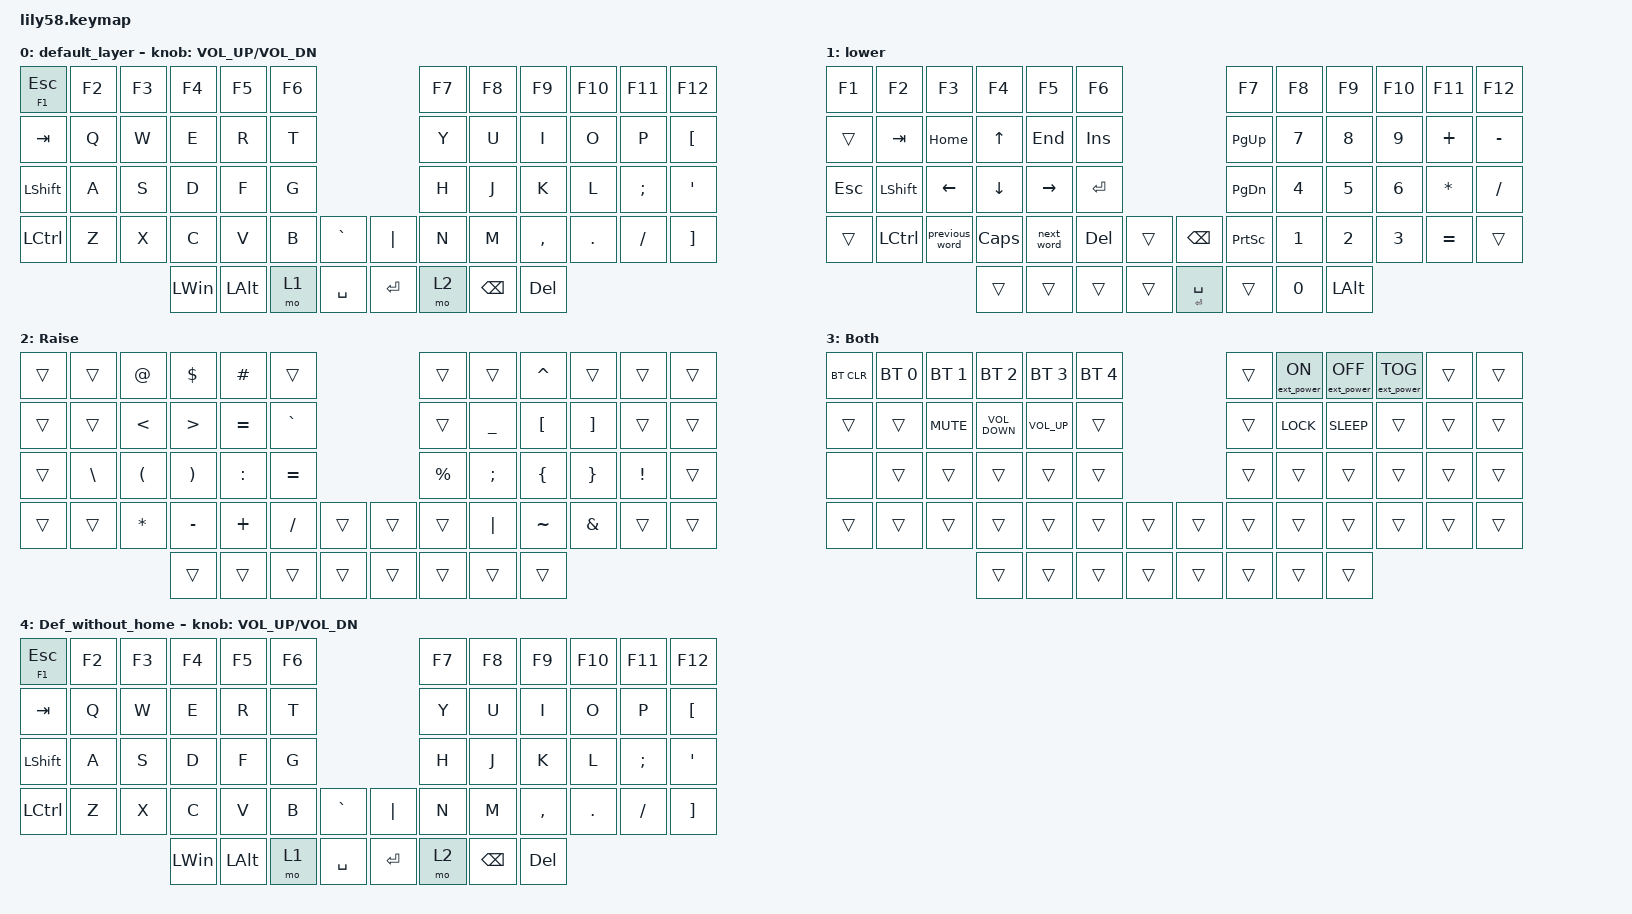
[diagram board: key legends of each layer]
/*
 * Copyright (c) 2020 The ZMK Contributors
 *
 * SPDX-License-Identifier: MIT
 */

#include <behaviors.dtsi>
#include <dt-bindings/zmk/bt.h>
#include <dt-bindings/zmk/ext_power.h>
#include <dt-bindings/zmk/keys.h>

/ {
    combos {
        compatible = "zmk,combos";

        ChangeLeng {
            bindings = <&kp LG(TAB)>;
            key-positions = <29 30>;
        };

        combo_esc {
            bindings = <&kp ESC>;
            key-positions = <28 31>;
        };
    };

    behaviors {
        ss_hs_modmorph: ss_hs_modmorph {
            compatible = "zmk,behavior-mod-morph";
            label = "SS_HS_MODMORPH";
            bindings = <&kp M>, <&kp RIGHT_BRACKET>;

            #binding-cells = <0>;
            mods = <(MOD_LSFT|MOD_RSFT)>;
        };

        kh_hs_tapdance: kh_hs_tapdance {
            compatible = "zmk,behavior-tap-dance";
            label = "KH_HS_TAPDANCE";
            #binding-cells = <0>;
            tapping-term-ms = <200>;
            bindings = <&kp LEFT_BRACKET>, <&kp RIGHT_BRACKET>;
        };

        hrm: hrm {
            compatible = "zmk,behavior-hold-tap";
            #binding-cells = <2>;
            flavor = "tap-preferred";
            tapping-term-ms = <200>;
            quick-tap-ms = <200>;
            require-prior-idle-ms = <125>;
            bindings = <&kp>, <&kp>;
        };

        hml: homewrow_mods_left {
            compatible = "zmk,behavior-hold-tap";
            label = "HOMEROW_MODS_LEFT_HAND";
            bindings = <&kp>, <&kp>;

            #binding-cells = <2>;
            tapping-term-ms = <200>;
            hold-trigger-key-positions = <6 10 11 18 19 20 21 22 23 30 31 32 33 34 35 44 45 46 47 48 49 55 56 57 6 7 8 9 10 11 18 19 20 21 22 23 30 31 32 33 34 35 43 44 45 46 47 48 49 54 55 56 57>;
        };

        hmr: homewrow_mods_right {
            compatible = "zmk,behavior-hold-tap";
            label = "HOMEROW_MODS_RIGHT_HAND";
            bindings = <&kp>, <&kp>;

            #binding-cells = <2>;
            tapping-term-ms = <200>;
            hold-trigger-key-positions = <0 1 2 3 4 5 12 13 14 15 16 17 24 25 26 27 28 29 36 37 38 39 40 41 42 50 51 52 53>;
        };
    };

    macros {
        pass: new_macro {
            compatible = "zmk,behavior-macro";
            #binding-cells = <0>;
            bindings = <&kp NUMBER_2 &kp N5 &kp NUMBER_1 &kp NUMBER_2 &kp N0 &kp NUMBER_2 &kp N5 &kp NUMBER_1 &kp NUMBER_2 &kp N0 &kp LS(G) &kp U &kp G &kp S>;
            label = "NEW_MACRO";
        };

        next_word: next_word {
            compatible = "zmk,behavior-macro";
            #binding-cells = <0>;
            bindings = <&kp LC(RIGHT)>;
            label = "NEXT_WORD";
        };

        previous_word: previous_word {
            compatible = "zmk,behavior-macro";
            #binding-cells = <0>;
            bindings = <&kp LC(LEFT)>;
            label = "PREVIOUS_WORD";
        };
    };

    keymap {
        compatible = "zmk,keymap";

        default_layer {
            // ------------------------------------------------------------------------------------------------------------
            // |  ESC  |  1  |  2  |  3   |  4   |  5   |                   |  6   |  7    |  8    |  9   |   0   |   `   |
            // |  TAB  |  Q  |  W  |  E   |  R   |  T   |                   |  Y   |  U    |  I    |  O   |   P   |   -   |
            // |  CTRL |  A  |  S  |  D   |  F   |  G   |                   |  H   |  J    |  K    |  L   |   ;   |   '   |
            // | SHIFT |  Z  |  X  |  C   |  V   |  B   |   "["  |  |  "]"  |  N   |  M    |  ,    |  .   |   /   | SHIFT |
            //                     | ALT  | GUI  | LOWER|  SPACE |  | ENTER | RAISE| BSPC  | GUI   |

            bindings = <
&hrm F1 ESC       &kp F2  &kp F3  &kp F4        &kp F5        &kp F6                         &kp F7  &kp F8    &kp F9     &kp F10  &kp F11   &kp F12
&kp TAB           &kp Q   &kp W   &kp E         &kp R         &kp T                          &kp Y   &kp U     &kp I      &kp O    &kp P     &kp LEFT_BRACKET
&kp LEFT_SHIFT    &kp A   &kp S   &kp D         &kp F         &kp G                          &kp H   &kp J     &kp K      &kp L    &kp SEMI  &kp SQT
&kp LEFT_CONTROL  &kp Z   &kp X   &kp C         &kp V         &kp B   &kp GRAVE    &kp PIPE  &kp N   &kp M     &kp COMMA  &kp DOT  &kp FSLH  &kp RIGHT_BRACKET
                                  &kp LEFT_WIN  &kp LEFT_ALT  &mo 1   &kp SPACE    &kp RET   &mo 2   &kp BSPC  &kp DEL
            >;

            sensor-bindings = <&inc_dec_kp C_VOL_UP C_VOL_DN>;
        };

        lower {
            bindings = <
&kp F1   &kp F2            &kp F3          &kp F4        &kp F5      &kp F6                                  &kp F7           &kp F8  &kp F9        &kp F10  &kp F11    &kp F12
&trans   &kp TAB           &kp HOME        &kp UP        &kp END     &kp INSERT                              &kp PAGE_UP      &kp N7  &kp N8        &kp N9   &kp PLUS   &kp MINUS
&kp ESC  &kp LEFT_SHIFT    &kp LEFT        &kp DOWN      &kp RIGHT   &kp ENTER                               &kp PAGE_DOWN    &kp N4  &kp N5        &kp N6   &kp STAR   &kp SLASH
&trans   &kp LEFT_CONTROL  &previous_word  &kp CAPSLOCK  &next_word  &kp DELETE  &trans    &kp BACKSPACE     &kp PRINTSCREEN  &kp N1  &kp N2        &kp N3   &kp EQUAL  &trans
                                           &trans        &trans      &trans      &trans    &hrm ENTER SPACE  &trans           &kp N0  &kp LEFT_ALT
            >;
        };

        Raise {
            bindings = <
&trans  &trans    &kp AT_SIGN           &kp DOLLAR             &kp POUND  &trans                       &trans       &trans          &kp CARET         &trans             &trans           &trans
&trans  &trans    &kp LESS_THAN         &kp GREATER_THAN       &kp EQUAL  &kp GRAVE                    &trans       &kp UNDERSCORE  &kp LEFT_BRACKET  &kp RIGHT_BRACKET  &trans           &trans
&trans  &kp BSLH  &kp LEFT_PARENTHESIS  &kp RIGHT_PARENTHESIS  &kp COLON  &kp EQUAL                    &kp PERCENT  &kp SEMICOLON   &kp LEFT_BRACE    &kp RIGHT_BRACE    &kp EXCLAMATION  &trans
&trans  &trans    &kp ASTRK             &kp MINUS              &kp PLUS   &kp SLASH  &trans    &trans  &trans       &kp PIPE        &kp TILDE         &kp AMPERSAND      &trans           &trans
                                        &trans                 &trans     &trans     &trans    &trans  &trans       &trans          &trans
            >;
        };

        Both {
            bindings = <
&bt BT_CLR  &bt BT_SEL 0  &bt BT_SEL 1  &bt BT_SEL 2       &bt BT_SEL 3     &bt BT_SEL 4                    &trans  &ext_power EP_ON  &ext_power EP_OFF  &ext_power EP_TOG  &trans  &trans
&trans      &trans        &kp K_MUTE    &kp C_VOLUME_DOWN  &kp C_VOLUME_UP  &trans                          &trans  &kp K_LOCK        &kp K_SLEEP        &trans             &trans  &trans
&none       &trans        &trans        &trans             &trans           &trans                          &trans  &trans            &trans             &trans             &trans  &trans
&trans      &trans        &trans        &trans             &trans           &trans        &trans    &trans  &trans  &trans            &trans             &trans             &trans  &trans
                                        &trans             &trans           &trans        &trans    &trans  &trans  &trans            &trans
            >;
        };

        Def_without_home {
            bindings = <
&hrm F1 ESC       &kp F2  &kp F3  &kp F4        &kp F5        &kp F6                         &kp F7  &kp F8    &kp F9     &kp F10  &kp F11   &kp F12
&kp TAB           &kp Q   &kp W   &kp E         &kp R         &kp T                          &kp Y   &kp U     &kp I      &kp O    &kp P     &kp LEFT_BRACKET
&kp LEFT_SHIFT    &kp A   &kp S   &kp D         &kp F         &kp G                          &kp H   &kp J     &kp K      &kp L    &kp SEMI  &kp SQT
&kp LEFT_CONTROL  &kp Z   &kp X   &kp C         &kp V         &kp B   &kp GRAVE    &kp PIPE  &kp N   &kp M     &kp COMMA  &kp DOT  &kp FSLH  &kp RIGHT_BRACKET
                                  &kp LEFT_WIN  &kp LEFT_ALT  &mo 1   &kp SPACE    &kp RET   &mo 2   &kp BSPC  &kp DEL
            >;

            sensor-bindings = <&inc_dec_kp C_VOL_UP C_VOL_DN>;
        };
    };

    conditional_layers {
        compatible = "zmk,conditional-layers";

        both {
            if-layers = <1 2>;
            then-layer = <3>;
        };
    };
};
